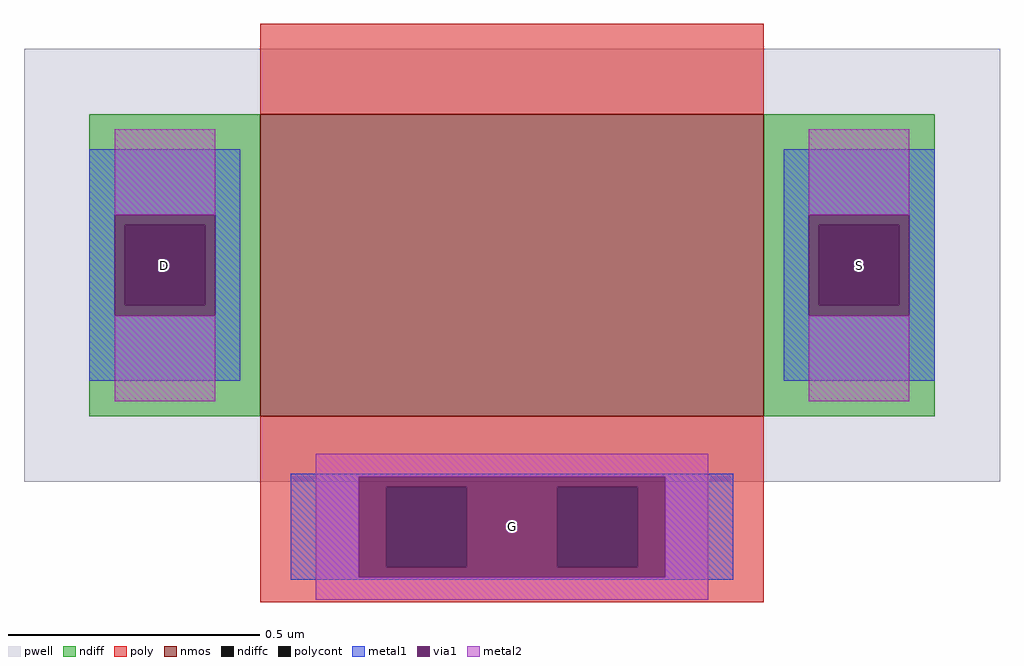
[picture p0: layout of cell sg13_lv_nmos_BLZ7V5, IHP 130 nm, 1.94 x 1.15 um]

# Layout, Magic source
magic
tech ihp-sg13g2
magscale 1 2
<< pwell >>
rect -194 -67 194 105
<< nmos >>
rect -100 -41 100 79
<< ndiff >>
rect -168 35 -100 79
rect -168 3 -154 35
rect -122 3 -100 35
rect -168 -41 -100 3
rect 100 35 168 79
rect 100 3 122 35
rect 154 3 168 35
rect 100 -41 168 3
<< ndiffc >>
rect -154 3 -122 35
rect 122 3 154 35
<< poly >>
rect -100 79 100 115
rect -100 -69 100 -41
rect -100 -101 -50 -69
rect -18 -101 18 -69
rect 50 -101 100 -69
rect -100 -115 100 -101
<< polycont >>
rect -50 -101 -18 -69
rect 18 -101 50 -69
<< metal1 >>
rect -168 39 -108 65
rect -168 -1 -158 39
rect -118 -1 -108 39
rect -168 -27 -108 -1
rect 108 39 168 65
rect 108 -1 118 39
rect 158 -1 168 39
rect 108 -27 168 -1
rect -88 -65 88 -64
rect -88 -105 -61 -65
rect 61 -105 88 -65
rect -88 -106 88 -105
<< via1 >>
rect -158 35 -118 39
rect -158 3 -154 35
rect -154 3 -122 35
rect -122 3 -118 35
rect -158 -1 -118 3
rect 118 35 158 39
rect 118 3 122 35
rect 122 3 154 35
rect 154 3 158 35
rect 118 -1 158 3
rect -61 -69 61 -65
rect -61 -101 -50 -69
rect -50 -101 -18 -69
rect -18 -101 18 -69
rect 18 -101 50 -69
rect 50 -101 61 -69
rect -61 -105 61 -101
<< metal2 >>
rect -158 39 -118 73
rect -158 -35 -118 -1
rect 118 39 158 73
rect 118 -35 158 -1
rect -78 -65 78 -56
rect -78 -105 -61 -65
rect 61 -105 78 -65
rect -78 -114 78 -105
<< labels >>
rlabel metal1 s -138 19 -138 19 4 D
rlabel metal1 s 138 19 138 19 4 S
rlabel metal1 s 0 -85 0 -85 4 G
<< end >>
